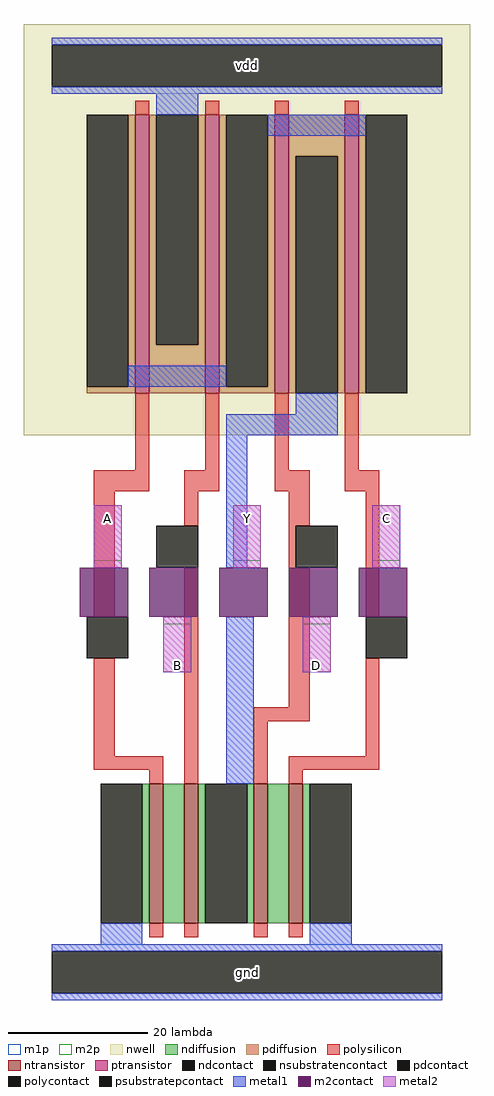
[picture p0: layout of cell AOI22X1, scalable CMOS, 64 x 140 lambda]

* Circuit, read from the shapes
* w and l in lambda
.subckt AOI22X1 A B C D Y vdd gnd
M1 n1 A gnd gnd nfet w=20 l=2
M2 Y B n1 gnd nfet w=20 l=2
M3 n2 D Y gnd nfet w=20 l=2
M4 gnd C n2 gnd nfet w=20 l=2
M5 vdd A n3 vdd pfet w=40 l=2
M6 n3 B vdd vdd pfet w=40 l=2
M7 Y D n3 vdd pfet w=40 l=2
M8 n3 C Y vdd pfet w=40 l=2
.ends

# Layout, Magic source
magic
tech scmos
<< nwell >>
rect -7 77 57 136
<< ntransistor >>
rect 11 7 13 27
rect 16 7 18 27
rect 26 7 28 27
rect 31 7 33 27
<< ptransistor >>
rect 9 83 11 123
rect 19 83 21 123
rect 29 83 31 123
rect 39 83 41 123
<< ndiffusion >>
rect 10 7 11 27
rect 13 7 16 27
rect 18 7 19 27
rect 25 7 26 27
rect 28 7 31 27
rect 33 7 34 27
<< pdiffusion >>
rect 8 84 9 123
rect 2 83 9 84
rect 11 90 12 123
rect 18 90 19 123
rect 11 83 19 90
rect 21 84 22 123
rect 28 84 29 123
rect 21 83 29 84
rect 31 117 39 123
rect 31 83 32 117
rect 38 83 39 117
rect 41 83 42 123
<< ndcontact >>
rect 4 7 10 27
rect 19 7 25 27
rect 34 7 40 27
<< pdcontact >>
rect 2 84 8 123
rect 12 90 18 123
rect 22 84 28 123
rect 32 83 38 117
rect 42 83 48 123
<< psubstratepcontact >>
rect -3 -3 53 3
<< nsubstratencontact >>
rect -3 127 53 133
<< polysilicon >>
rect 9 123 11 125
rect 19 123 21 125
rect 29 123 31 125
rect 39 123 41 125
rect 9 72 11 83
rect 19 72 21 83
rect 3 69 11 72
rect 16 69 21 72
rect 29 72 31 83
rect 39 72 41 83
rect 29 69 34 72
rect 39 69 44 72
rect 3 51 6 69
rect 16 64 18 69
rect 3 31 6 45
rect 3 29 13 31
rect 11 27 13 29
rect 16 27 18 58
rect 31 64 34 69
rect 31 58 32 64
rect 31 38 34 58
rect 26 36 34 38
rect 42 51 44 69
rect 26 27 28 36
rect 42 31 44 45
rect 31 29 44 31
rect 31 27 33 29
rect 11 5 13 7
rect 16 5 18 7
rect 26 5 28 7
rect 31 5 33 7
<< polycontact >>
rect 12 58 18 64
rect 2 45 8 51
rect 32 58 38 64
rect 42 45 48 51
<< metal1 >>
rect -3 133 53 134
rect -3 126 53 127
rect 12 123 18 126
rect 8 84 22 87
rect 28 120 42 123
rect 32 80 38 83
rect 22 77 38 80
rect 22 58 25 77
rect 22 27 26 51
rect 4 4 10 7
rect 34 4 40 7
rect -3 3 53 4
rect -3 -4 53 -3
<< m2contact >>
rect 1 51 8 58
rect 11 51 18 58
rect 21 51 28 58
rect 31 51 38 58
rect 41 51 48 58
<< metal2 >>
rect 3 58 7 67
rect 23 58 27 67
rect 43 58 47 67
rect 13 43 17 51
rect 33 43 37 51
<< m1p >>
rect -3 126 53 134
rect -3 -4 53 4
<< m2p >>
rect 3 59 7 67
rect 23 59 27 67
rect 43 59 47 67
rect 13 43 17 50
rect 33 43 37 50
<< labels >>
rlabel metal2 5 65 5 65 5 A
port 1 n signal input
rlabel metal2 15 44 15 44 7 B
port 2 n signal input
rlabel metal2 45 65 45 65 1 C
port 3 n signal input
rlabel metal2 35 44 35 44 5 D
port 4 n signal input
rlabel metal2 25 65 25 65 5 Y
port 5 n signal output
rlabel metal1 -3 126 53 134 0 vdd
port 6 nsew power bidirectional abutment
rlabel metal1 -3 -4 53 4 0 gnd
port 7 nsew ground bidirectional abutment
<< properties >>
string FIXED_BBOX 0 0 50 130
string LEFclass CORE
string LEFsite core
string LEFsymmetry X Y
<< end >>
